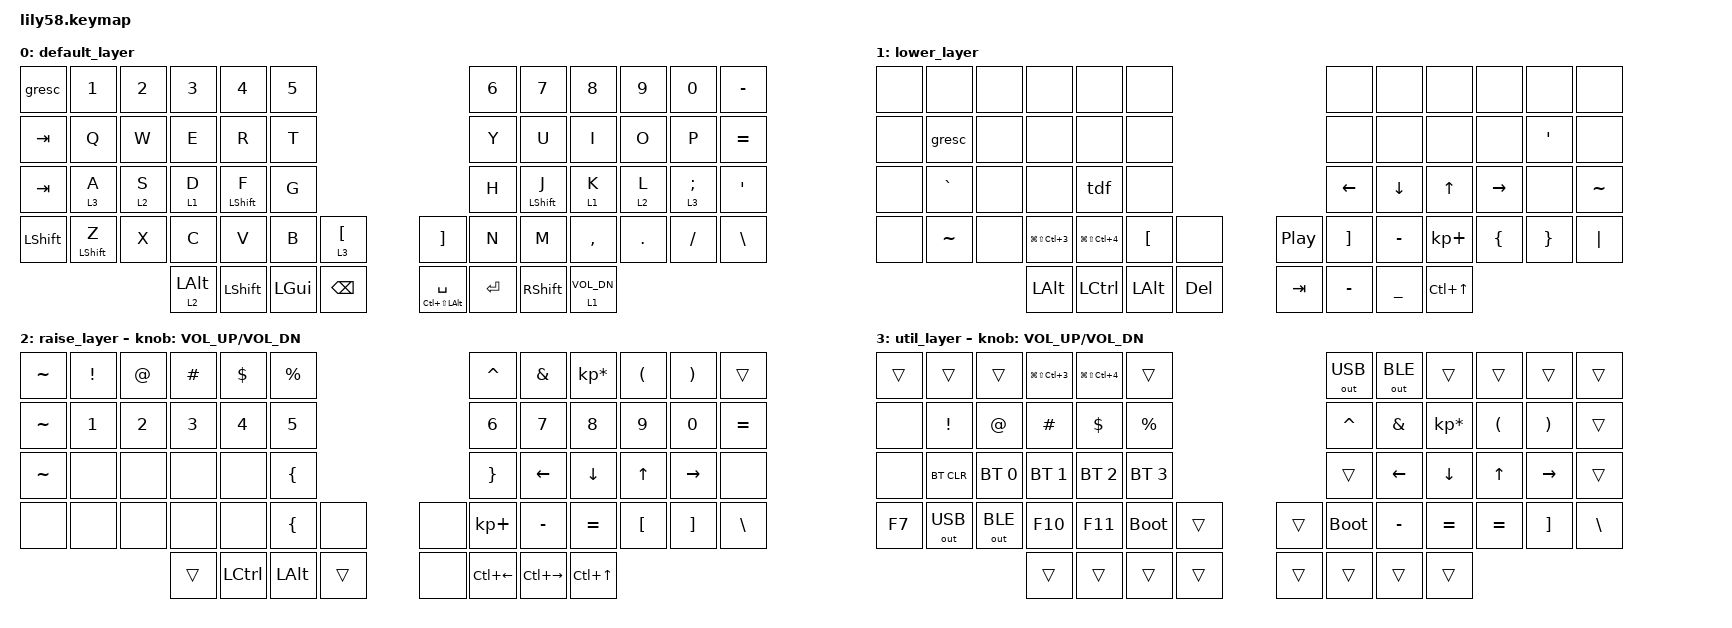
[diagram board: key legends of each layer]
/*
 * Copyright (c) 2020 The ZMK Contributors
 *
 * SPDX-License-Identifier: MIT
 */

#include <behaviors.dtsi>
#include <dt-bindings/zmk/keys.h>
#include <dt-bindings/zmk/bt.h>
#include <dt-bindings/zmk/ext_power.h>
#include <dt-bindings/zmk/outputs.h>
#define TAPPING_TERM 200
#define QUICK_TAP    100

#define DEFAULT 0
#define NAV     1
#define SYM     2
#define OTH     3
&caps_word {
    continue-list = <UNDERSCORE>;

};

&lt {
	flavor = "tap-preferred";
	tapping-term-ms = <TAPPING_TERM>;
};

&mt {
	flavor = "tap-preferred";
	tapping-term-ms = <TAPPING_TERM>;
};
/ {

    behaviors {
        hm: layer_mods {
            compatible = "zmk,behavior-hold-tap";
            label = "LAYER_MODS";
            #binding-cells = <2>;
            tapping-term-ms = <TAPPING_TERM>;
            quick_tap_ms = <0>;
            flavor = "tap-preferred";
            bindings = <&kp>, <&kp>;
        };
        hs: homerow_shift {
            compatible = "zmk,behavior-hold-tap";
            label = "HOMEROW_SHIFT";
            #binding-cells = <2>;
            tapping-term-ms = <TAPPING_TERM>;
            quick_tap_ms = <0>;
            flavor = "tap-preferred";
            bindings = <&kp>, <&kp>;
        };
        tdf: tap_dance_f {
            compatible = "zmk,behavior-tap-dance";
            label = "TAP_DANCE_G";
            #binding-cells = <0>;
            tapping-term-ms = <QUICK_TAP>;
            bindings = <&kp F>, <&caps_word>;
        };
        tdh: tap_dance_h {
            compatible = "zmk,behavior-tap-dance";
            label = "TAP_DANCE_H";
            #binding-cells = <0>;
            tapping-term-ms = <QUICK_TAP>;
            bindings = <&kp H>, <&caps_word>;
        };
    };

	keymap {
		compatible = "zmk,keymap";

		default_layer {
			bindings = <
//╭──────────┬──────────┬──────────┬──────────┬──────────┬──────────╮                         ╭──────────┬──────────┬──────────┬──────────┬──────────┬──────────╮
    &gresc      &kp N1     &kp N2     &kp N3     &kp N4     &kp N5                               &kp N6     &kp N7     &kp N8     &kp N9     &kp N0    &kp MINUS
//├──────────┼──────────┼──────────┼──────────┼──────────┼──────────┤                         ├──────────┼──────────┼──────────┼──────────┼──────────┼──────────┤
    &kp TAB     &kp Q      &kp W      &kp E      &kp R      &kp T                                &kp Y      &kp U      &kp I      &kp O      &kp P     &kp EQUAL
//├──────────┼──────────┼──────────┼──────────┼──────────┼──────────┤                         ├──────────┼──────────┼──────────┼──────────┼──────────┼──────────┤
    &kp TAB     &lt 3 A   &lt 2 S    &lt 1 D    &hs LSHIFT F  &kp G                              &kp H    &hs LSHIFT J  &lt 1 K   &lt 2 L   &lt 3 SEMI  &kp SINGLE_QUOTE
//├──────────┼──────────┼──────────┼──────────┼──────────┼──────────┤──────────╮   ╭──────────┤──────────┼──────────┼──────────┼──────────┼──────────┼──────────┤
    &kp LSHFT &mt LSHIFT Z   &kp X    &kp C      &kp V      &kp B    &lt 3 LBKT     &kp RBKT     &kp N      &kp M   &kp COMMA    &kp DOT   &kp FSLH   &kp BSLH
//╰──────────┴──────────┴──────────┼──────────┼──────────┼──────────┤──────────╯   ╰──┤──────────────────┼─────────────────┼───────────────┼─────────┼──────────╯
                      &lt 2 LALT &kp LSHIFT &kp LGUI  &kp BACKSPACE                &mt LC(LS(LALT)) SPACE &kp ENTER  &kp RSHFT  &lt 1 C_VOL_DN
   //                ╰──────────┴───────────┴─────────┴─────────────╯                 ╰──────────────────┴─────────────────┴───────────────┴───────────────╯
			>;

		};

		lower_layer {
         bindings = <
//╭──────────┬──────────┬──────────┬──────────┬──────────┬──────────╮                         ╭──────────┬──────────┬──────────┬──────────┬──────────┬──────────╮
     &none      &none     &none       &none      &none      &none                               &none       &none      &none      &none      &none      &none
//├──────────┼──────────┼──────────┼──────────┼──────────┼──────────┤                         ├──────────┼──────────┼──────────┼──────────┼──────────┼──────────┤
     &none      &gresc     &none      &none      &none      &none                                &none      &none      &none      &none      &kp SINGLE_QUOTE     &none
//├──────────┼──────────┼──────────┼──────────┼──────────┼──────────┤                         ├──────────┼──────────┼──────────┼──────────┼──────────┼──────────┤
     &none     &kp GRAVE    &none      &none     &tdf       &none                              &kp LEFT     &kp DOWN  &kp UP    &kp RIGHT   &none     &kp TILDE
//├──────────┼──────────┼──────────┼──────────┼──────────┼──────────┤──────────╮       ╭──────────┤──────────┼──────────┼──────────┼──────────┼──────────┼──────────┤
     &none    &kp TILDE  &none &kp LG(LS(LC(N3))) &kp LG(LS(LC(N4))) &kp LBKT &none   &kp C_PLAY_PAUSE  &kp RBKT &kp MINUS &kp KP_PLUS     &kp LBRC  &kp RBRC  &kp PIPE
//╰──────────┴──────────┴──────────┼──────────┼──────────┼──────────┤──────────╯       ╰──┤──────────────────┼─────────────────┼───────────────┼─────────┼──────────╯
        &kp LALT  &kp LCTL  &kp LALT  &kp DELETE                                          &kp TAB    &kp MINUS   &kp UNDER  &kp LC(UP)
//                ╰──────────┴───────────┴─────────┴─────────────╯                       ╰──────────────────┴─────────────────┴───────────────┴───────────────╯

			>;

		};

		raise_layer {

			bindings = <
//╭──────────┬──────────┬──────────┬──────────┬──────────┬──────────╮                         ╭──────────┬──────────┬──────────┬──────────┬──────────┬──────────╮
    &kp TILDE &kp EXCL &kp AT &kp HASH &kp DOLLAR &kp PRCNT                                    &kp CARET &kp AMPS  &kp KP_MULTIPLY &kp LPAR  &kp RPAR &trans
//├──────────┼──────────┼──────────┼──────────┼──────────┼──────────┤                         ├──────────┼──────────┼──────────┼──────────┼──────────┼──────────┤
&kp TILDE        &kp N1     &kp N2     &kp N3     &kp N4     &kp N5                             &kp N6     &kp N7     &kp N8     &kp N9     &kp N0     &kp EQUAL
//├──────────┼──────────┼──────────┼──────────┼──────────┼──────────┤                         ├──────────┼──────────┼──────────┼──────────┼──────────┼──────────┤
   &kp TILDE    &none       &none      &none      &none     &kp LBRC                             &kp RBRC  &kp LEFT  &kp DOWN  &kp UP   &kp RIGHT  &none
//├──────────┼──────────┼──────────┼──────────┼──────────┼──────────┤──────────╮   ╭──────────┤──────────┼──────────┼──────────┼──────────┼──────────┼──────────┤
     &none     &none       &none      &none      &none     &kp LBRC   &none             &none    &kp KP_PLUS &kp MINUS &kp EQUAL &kp LBKT &kp RBKT  &kp BSLH
//╰──────────┴──────────┴──────────┼──────────┼──────────┼──────────┤──────────╯   ╰──┤──────────────────┼─────────────────┼───────────────┼─────────┼──────────╯
                        &trans  &kp LCTL  &kp LALT    &trans                            &none &kp LC(LEFT)    &kp LC(RIGHT)      &kp LC(UP)   
//                ╰──────────┴───────────┴─────────┴─────────────╯                 ╰──────────────────┴─────────────────┴───────────────┴───────────────╯
			>;

			sensor-bindings = <&inc_dec_kp C_VOL_UP C_VOL_DN>;
		};
				util_layer {
			bindings = <
//╭──────────┬──────────┬──────────┬──────────┬──────────┬──────────╮                         ╭──────────┬──────────┬──────────┬──────────┬──────────┬──────────╮
&trans  &trans &trans &kp LG(LS(LC(N3))) &kp LG(LS(LC(N4))) &trans    &out OUT_USB    &out OUT_BLE    &trans    &trans   &trans    &trans
//├──────────┼──────────┼──────────┼──────────┼──────────┼──────────┤                         ├──────────┼──────────┼──────────┼──────────┼──────────┼──────────┤
     &none     &kp EXCL    &kp AT    &kp HASH  &kp DOLLAR  &kp PRCNT                            &kp CARET &kp AMPS  &kp KP_MULTIPLY &kp LPAR  &kp RPAR   &trans
//├──────────┼──────────┼──────────┼──────────┼──────────┼──────────┤                         ├──────────┼──────────┼──────────┼──────────┼──────────┼──────────┤
&none   &bt BT_CLR    &bt BT_SEL 0 &bt BT_SEL 1 &bt BT_SEL 2 &bt BT_SEL 3                       &trans      &kp LEFT  &kp DOWN  &kp UP   &kp RIGHT &trans
//├──────────┼──────────┼──────────┼──────────┼──────────┼──────────┤──────────╮   ╭──────────┤──────────┼──────────┼──────────┼──────────┼──────────┼──────────┤
&kp F7   &out OUT_USB  &out OUT_BLE &kp F10 &kp F11 &bootloader   &trans   &trans    &bootloader &kp MINUS &kp EQUAL &kp EQUAL &kp RBKT  &kp BSLH
                        &trans  &trans  &trans    &trans   &trans    &trans      &trans    &trans
			>;

			sensor-bindings = <&inc_dec_kp C_VOL_UP C_VOL_DN>;
		};
	};
//                ╰──────────┴───────────┴─────────┴─────────────╯                 ╰──────────────────┴─────────────────┴───────────────┴───────────────╯
};
